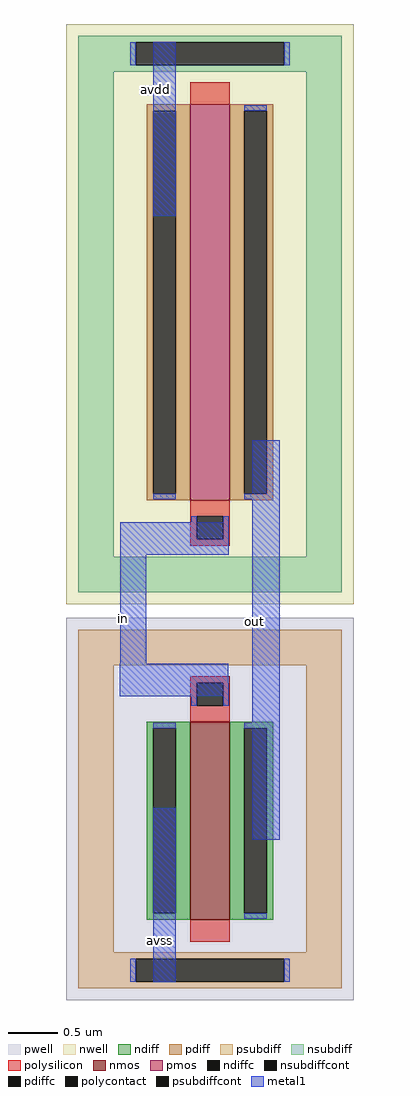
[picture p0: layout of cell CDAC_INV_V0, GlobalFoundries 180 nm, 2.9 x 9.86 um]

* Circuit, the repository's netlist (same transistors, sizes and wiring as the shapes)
** sch_path: /foss/designs/libs/WK_Kadam/CDAC_INV_V0.sch
.subckt CDAC_INV_V0 avdd in out avss
*.PININFO avdd:B avss:B in:B out:B
XM3 out in avss avss nfet_03v3 L=0.4u W=2u nf=1 m=1
XM4 out in avdd avdd pfet_03v3 L=0.4u W=4u nf=1 m=1
.ends

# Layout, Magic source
magic
tech gf180mcuD
magscale 1 10
<< metal1 >>
rect 1135 704 1181 1055
rect 1069 20 1288 85
rect 1069 -201 1121 20
rect 1068 -266 1287 -201
rect 1135 -843 1181 -492
rect 1335 -556 1391 251
use nfet_03v3_Q7US5R  XM3
transform 1 0 1250 0 1 -494
box -290 -386 290 386
use pfet_03v3_YXHA8C  XM4
transform 1 0 1250 0 1 506
box -290 -586 290 586
<< labels >>
rlabel metal1 1139 954 1139 965 1 avdd
port 0 n
rlabel metal1 1076 -114 1076 -103 1 in
port 1 n
rlabel metal1 1339 -120 1339 -109 7 out
port 2 w
rlabel metal1 1147 -766 1147 -755 7 avss
port 3 w
<< end >>

# cell nfet_03v3_Q7US5R: kit device nfet_03v3, w 2.0 l 0.4 m 1 nf 1 diffcov 100 polycov 100 guard 1 glc 0 grc 0 gtc 0 gbc 1 tbcov 100 rlcov 100 topc 1 botc 0 poverlap 0 doverlap 1 lmin 0.28 wmin 0.22 class mosfet full_metal 0 compatible {nfet_03v3 nfet_06v0 nfet_06v0_nvt}

# cell pfet_03v3_YXHA8C: kit device pfet_03v3, w 4.0 l 0.4 m 1 nf 1 diffcov 100 polycov 100 guard 1 glc 0 grc 0 gtc 1 gbc 0 tbcov 100 rlcov 100 topc 0 botc 1 poverlap 0 doverlap 1 lmin 0.28 wmin 0.22 class mosfet full_metal 0 compatible {pfet_03v3 pfet_06v0}
